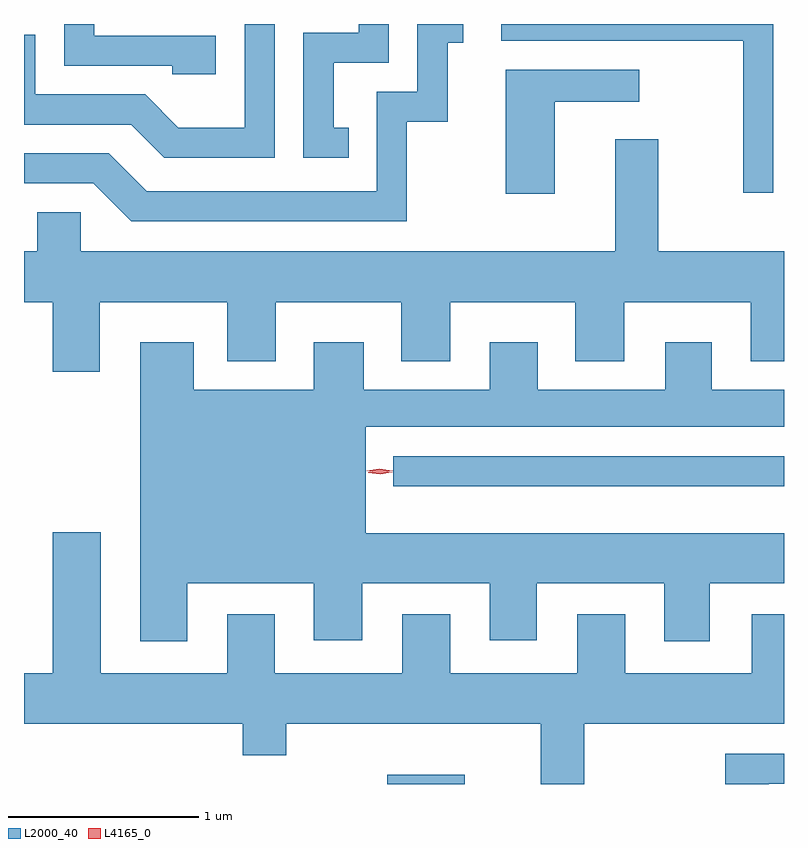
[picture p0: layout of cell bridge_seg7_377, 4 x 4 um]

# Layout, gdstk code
import gdstk
lib = gdstk.Library(unit=1e-6, precision=1e-09)
def R(c, l, rs):  # rectangles x0, y0, x1, y1
    for r in rs: c.add(gdstk.rectangle(r[:2], r[2:], *l))
def P(c, l, *ps):  # polygons
    for p in ps: c.add(gdstk.Polygon(p, *l))
L2000_40 = (2000, 40)
L4165_0 = (4165, 0)

bridge_seg7_377 = lib.new_cell('bridge_seg7_377')
R(bridge_seg7_377, L2000_40, [(1127.433,1776.16,1127.839,1776.209), (1127.463,1777.726,1129.52,1777.884)])
P(bridge_seg7_377, L2000_40, [(1129.464,1780.16),(1128.033,1780.16),(1128.033,1780.071),(1129.306,1780.071),(1129.306,1779.273),(1129.464,1779.273)],
  [(1127.534,1779.646),(1127.749,1779.646),(1127.749,1780.061),(1127.833,1780.061),(1127.833,1780.16),(1127.591,1780.16),(1127.591,1779.804),(1127.376,1779.804),(1127.376,1779.279),(1126.167,1779.279),(1125.967,1779.479),(1125.52,1779.479),(1125.52,1779.321),(1125.884,1779.321),(1126.084,1779.121),(1127.534,1779.121)],
  [(1127.228,1779.614),(1127.149,1779.614),(1127.149,1779.956),(1127.439,1779.956),(1127.439,1780.16),(1127.281,1780.16),(1127.281,1780.114),(1126.991,1780.114),(1126.991,1779.456),(1127.228,1779.456)],
  [(1126.839,1780.16),(1126.681,1780.16),(1126.681,1779.614),(1126.332,1779.614),(1126.157,1779.789),(1125.579,1779.789),(1125.579,1780.104),(1125.52,1780.104),(1125.52,1779.631),(1126.084,1779.631),(1126.259,1779.456),(1126.839,1779.456)],
  [(1126.529,1780.099),(1125.889,1780.099),(1125.889,1780.16),(1125.731,1780.16),(1125.731,1779.941),(1126.301,1779.941),(1126.301,1779.896),(1126.529,1779.896)],
  [(1128.314,1779.751),(1128.758,1779.751),(1128.758,1779.919),(1128.056,1779.919),(1128.056,1779.266),(1128.314,1779.266)],
  [(1128.679,1778.696),(1129.346,1778.696),(1129.346,1778.386),(1129.52,1778.386),(1129.52,1778.964),(1128.859,1778.964),(1128.859,1779.554),(1128.631,1779.554),(1128.631,1778.964),(1125.819,1778.964),(1125.819,1779.169),(1125.591,1779.169),(1125.591,1778.964),(1125.52,1778.964),(1125.52,1778.696),(1125.671,1778.696),(1125.671,1778.331),(1125.919,1778.331),(1125.919,1778.696),(1126.591,1778.696),(1126.591,1778.386),(1126.844,1778.386),(1126.844,1778.696),(1127.506,1778.696),(1127.506,1778.386),(1127.764,1778.386),(1127.764,1778.696),(1128.421,1778.696),(1128.421,1778.386),(1128.679,1778.386)],
  [(1126.379,1777.216),(1127.046,1777.216),(1127.046,1776.916),(1127.299,1776.916),(1127.299,1777.216),(1127.971,1777.216),(1127.971,1776.916),(1128.219,1776.916),(1128.219,1777.216),(1128.891,1777.216),(1128.891,1776.911),(1129.129,1776.911),(1129.129,1777.216),(1129.52,1777.216),(1129.52,1777.479),(1127.319,1777.479),(1127.319,1778.041),(1129.52,1778.041),(1129.52,1778.234),(1129.139,1778.234),(1129.139,1778.484),(1128.896,1778.484),(1128.896,1778.234),(1128.224,1778.234),(1128.224,1778.484),(1127.971,1778.484),(1127.971,1778.234),(1127.309,1778.234),(1127.309,1778.484),(1127.046,1778.484),(1127.046,1778.234),(1126.414,1778.234),(1126.414,1778.484),(1126.131,1778.484),(1126.131,1776.911),(1126.379,1776.911)],
  [(1128.469,1776.476),(1129.52,1776.476),(1129.52,1777.054),(1129.351,1777.054),(1129.351,1776.744),(1128.684,1776.744),(1128.684,1777.054),(1128.431,1777.054),(1128.431,1776.744),(1127.764,1776.744),(1127.764,1777.054),(1127.511,1777.054),(1127.511,1776.744),(1126.839,1776.744),(1126.839,1777.054),(1126.591,1777.054),(1126.591,1776.744),(1125.924,1776.744),(1125.924,1777.484),(1125.671,1777.484),(1125.671,1776.744),(1125.52,1776.744),(1125.52,1776.476),(1126.671,1776.476),(1126.671,1776.311),(1126.899,1776.311),(1126.899,1776.476),(1128.241,1776.476),(1128.241,1776.16),(1128.469,1776.16)],
  [(1129.439,1776.161),(1129.52,1776.161),(1129.52,1776.319),(1129.211,1776.319),(1129.211,1776.16),(1129.439,1776.16)])
P(bridge_seg7_377, L4165_0, [(1127.391,1777.798),(1127.323,1777.808),(1127.322,1777.808),(1127.323,1777.809),(1127.391,1777.818),(1127.46,1777.809),(1127.46,1777.808),(1127.46,1777.808)],
  [(1127.394,1777.79),(1127.332,1777.799),(1127.332,1777.8),(1127.332,1777.8),(1127.394,1777.81),(1127.456,1777.801),(1127.457,1777.8),(1127.456,1777.8)])

lib.write_gds('bridge_seg7_377.gds')
